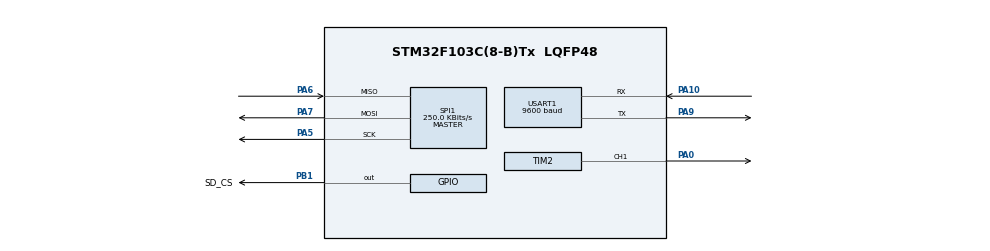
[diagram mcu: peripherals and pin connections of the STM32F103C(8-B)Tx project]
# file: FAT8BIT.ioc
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FREERTOS.Tasks01=Tarea1,24,128,AbrirArchivo,Default,NULL,Dynamic,NULL,NULL;Tarea2,8,128,Reproducir,Default,NULL,Dynamic,NULL,NULL
FREERTOS.configUSE_NEWLIB_REENTRANT=1
Mcu.Family=STM32F1
Mcu.Name=STM32F103C(8-B)Tx
Mcu.Package=LQFP48
NVIC.PriorityGroup=NVIC_PRIORITYGROUP_4
NVIC.TIM2_IRQn=true\:5\:0\:false\:false\:true\:true\:true\:true\:true
NVIC.TIM4_IRQn=true\:15\:0\:false\:false\:true\:false\:false\:true\:true
NVIC.TimeBase=TIM4_IRQn
NVIC.TimeBaseIP=TIM4
PA0-WKUP.Signal=S_TIM2_CH1_ETR
PA10.Mode=Asynchronous
PA10.Signal=USART1_RX
PA13.Mode=Serial_Wire
PA13.Signal=SYS_JTMS-SWDIO
PA14.Mode=Serial_Wire
PA14.Signal=SYS_JTCK-SWCLK
PA5.Mode=Full_Duplex_Master
PA5.Signal=SPI1_SCK
PA6.Mode=Full_Duplex_Master
PA6.Signal=SPI1_MISO
PA7.Mode=Full_Duplex_Master
PA7.Signal=SPI1_MOSI
PA9.Mode=Asynchronous
PA9.Signal=USART1_TX
PB1.GPIO_Label=SD_CS
PB1.Signal=GPIO_Output
ProjectManager.HeapSize=0x200
ProjectManager.StackSize=0x400
ProjectManager.TargetToolchain=STM32CubeIDE
RCC.APB1Freq_Value=8000000
RCC.APB2Freq_Value=8000000
SH.S_TIM2_CH1_ETR.0=TIM2_CH1,PWM Generation1 CH1
SPI1.BaudRatePrescaler=SPI_BAUDRATEPRESCALER_32
SPI1.CalculateBaudRate=250.0 KBits/s
SPI1.Direction=SPI_DIRECTION_2LINES
SPI1.Mode=SPI_MODE_MASTER
SPI1.VirtualType=VM_MASTER
TIM2.Channel-PWM\ Generation1\ CH1=TIM_CHANNEL_1
TIM2.Period=255
TIM2.Prescaler=0
TIM3.Period=124
TIM3.Prescaler=71
USART1.BaudRate=9600
USART1.VirtualMode=VM_ASYNC
VP_FATFS_VS_Generic.Mode=User_defined
VP_FREERTOS_VS_CMSIS_V2.Mode=CMSIS_V2
VP_SYS_VS_tim4.Mode=TIM4
VP_TIM2_VS_ClockSourceINT.Mode=Internal
VP_TIM3_VS_ClockSourceINT.Mode=Internal
board=custom

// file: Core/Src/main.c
/* USER CODE BEGIN Header */
/**
  ******************************************************************************
  * @file           : main.c
  * @brief          : Main program body
  ******************************************************************************
  * @attention
  *
  * Copyright (c) 2023 STMicroelectronics.
  * All rights reserved.
  *
  * This software is licensed under terms that can be found in the LICENSE file
  * in the root directory of this software component.
  * If no LICENSE file comes with this software, it is provided AS-IS.
  *
  ******************************************************************************
  */
/* USER CODE END Header */
#include "main.h"
#include "cmsis_os.h"
#include "fatfs.h"

/* USER CODE BEGIN Includes */
#include "stdio.h"
/* USER CODE END Includes */

SPI_HandleTypeDef hspi1;

TIM_HandleTypeDef htim2;
TIM_HandleTypeDef htim3;

UART_HandleTypeDef huart1;

/* Definitions for Tarea1 */
osThreadId_t Tarea1Handle;
const osThreadAttr_t Tarea1_attributes = {
  .name = "Tarea1",
  .stack_size = 128 * 4,
  .priority = (osPriority_t) osPriorityNormal,
};
/* Definitions for Tarea2 */
osThreadId_t Tarea2Handle;
const osThreadAttr_t Tarea2_attributes = {
  .name = "Tarea2",
  .stack_size = 128 * 4,
  .priority = (osPriority_t) osPriorityLow,
};
/* USER CODE BEGIN PV */
enum{cancion1,cancion2}cancion=cancion1;
int idx=0;
FATFS FatFs; //Fatfs handle
FIL fil; //File handle
FRESULT fres; //Result after operations
DWORD free_clusters, free_sectors, total_sectors;
FATFS* getFreeFs;
BYTE readBuf;
BYTE CONT=0;
/* USER CODE END PV */

void SystemClock_Config(void);
static void MX_GPIO_Init(void);
static void MX_SPI1_Init(void);
static void MX_TIM2_Init(void);
static void MX_USART1_UART_Init(void);
static void MX_TIM3_Init(void);
void AbrirArchivo(void *argument);
void Reproducir(void *argument);

int main(void)
{
  /* USER CODE BEGIN 1 */
	//variables for FatFs

  /* USER CODE END 1 */

  /* MCU Configuration--------------------------------------------------------*/

  /* Reset of all peripherals, Initializes the Flash interface and the Systick. */
  HAL_Init();

  /* Configure the system clock */
  SystemClock_Config();

  /* Initialize all configured peripherals */
  MX_GPIO_Init();
  MX_SPI1_Init();
  MX_TIM2_Init();
  MX_USART1_UART_Init();
  MX_FATFS_Init();
  MX_TIM3_Init();

  /* Init scheduler */
  osKernelInitialize();

  /* Create the thread(s) */
  /* creation of Tarea1 */
  Tarea1Handle = osThreadNew(AbrirArchivo, NULL, &Tarea1_attributes);

  /* creation of Tarea2 */
  Tarea2Handle = osThreadNew(Reproducir, NULL, &Tarea2_attributes);

  /* Start scheduler */
  osKernelStart();

  /* We should never get here as control is now taken by the scheduler */
  /* Infinite loop */
  /* USER CODE BEGIN WHILE */
  HAL_TIM_PWM_Start(&htim2, TIM_CHANNEL_1);
  HAL_TIM_Base_Start(&htim3);
  fres = f_mount(&FatFs, "", 1); //1=mount now
  while (1)
  {
    /* USER CODE END WHILE */

  }
}

void SystemClock_Config(void)
{
  RCC_OscInitTypeDef RCC_OscInitStruct = {0};
  RCC_ClkInitTypeDef RCC_ClkInitStruct = {0};

  /** Initializes the RCC Oscillators according to the specified parameters
  * in the RCC_OscInitTypeDef structure.
  */
  RCC_OscInitStruct.OscillatorType = RCC_OSCILLATORTYPE_HSI;
  RCC_OscInitStruct.HSIState = RCC_HSI_ON;
  RCC_OscInitStruct.HSICalibrationValue = RCC_HSICALIBRATION_DEFAULT;
  RCC_OscInitStruct.PLL.PLLState = RCC_PLL_NONE;
  if (HAL_RCC_OscConfig(&RCC_OscInitStruct) != HAL_OK)
  {
    Error_Handler();
  }

  /** Initializes the CPU, AHB and APB buses clocks
  */
  RCC_ClkInitStruct.ClockType = RCC_CLOCKTYPE_HCLK|RCC_CLOCKTYPE_SYSCLK
                              |RCC_CLOCKTYPE_PCLK1|RCC_CLOCKTYPE_PCLK2;
  RCC_ClkInitStruct.SYSCLKSource = RCC_SYSCLKSOURCE_HSI;
  RCC_ClkInitStruct.AHBCLKDivider = RCC_SYSCLK_DIV1;
  RCC_ClkInitStruct.APB1CLKDivider = RCC_HCLK_DIV1;
  RCC_ClkInitStruct.APB2CLKDivider = RCC_HCLK_DIV1;

  if (HAL_RCC_ClockConfig(&RCC_ClkInitStruct, FLASH_LATENCY_0) != HAL_OK)
  {
    Error_Handler();
  }
}

static void MX_SPI1_Init(void)
{

  /* SPI1 parameter configuration*/
  hspi1.Instance = SPI1;
  hspi1.Init.Mode = SPI_MODE_MASTER;
  hspi1.Init.Direction = SPI_DIRECTION_2LINES;
  hspi1.Init.DataSize = SPI_DATASIZE_8BIT;
  hspi1.Init.CLKPolarity = SPI_POLARITY_LOW;
  hspi1.Init.CLKPhase = SPI_PHASE_1EDGE;
  hspi1.Init.NSS = SPI_NSS_SOFT;
  hspi1.Init.BaudRatePrescaler = SPI_BAUDRATEPRESCALER_32;
  hspi1.Init.FirstBit = SPI_FIRSTBIT_MSB;
  hspi1.Init.TIMode = SPI_TIMODE_DISABLE;
  hspi1.Init.CRCCalculation = SPI_CRCCALCULATION_DISABLE;
  hspi1.Init.CRCPolynomial = 10;
  if (HAL_SPI_Init(&hspi1) != HAL_OK)
  {
    Error_Handler();
  }

}

static void MX_TIM2_Init(void)
{

  TIM_ClockConfigTypeDef sClockSourceConfig = {0};
  TIM_MasterConfigTypeDef sMasterConfig = {0};
  TIM_OC_InitTypeDef sConfigOC = {0};

  htim2.Instance = TIM2;
  htim2.Init.Prescaler = 0;
  htim2.Init.CounterMode = TIM_COUNTERMODE_UP;
  htim2.Init.Period = 255;
  htim2.Init.ClockDivision = TIM_CLOCKDIVISION_DIV1;
  htim2.Init.AutoReloadPreload = TIM_AUTORELOAD_PRELOAD_DISABLE;
  if (HAL_TIM_Base_Init(&htim2) != HAL_OK)
  {
    Error_Handler();
  }
  sClockSourceConfig.ClockSource = TIM_CLOCKSOURCE_INTERNAL;
  if (HAL_TIM_ConfigClockSource(&htim2, &sClockSourceConfig) != HAL_OK)
  {
    Error_Handler();
  }
  if (HAL_TIM_PWM_Init(&htim2) != HAL_OK)
  {
    Error_Handler();
  }
  sMasterConfig.MasterOutputTrigger = TIM_TRGO_RESET;
  sMasterConfig.MasterSlaveMode = TIM_MASTERSLAVEMODE_DISABLE;
  if (HAL_TIMEx_MasterConfigSynchronization(&htim2, &sMasterConfig) != HAL_OK)
  {
    Error_Handler();
  }
  sConfigOC.OCMode = TIM_OCMODE_PWM1;
  sConfigOC.Pulse = 0;
  sConfigOC.OCPolarity = TIM_OCPOLARITY_HIGH;
  sConfigOC.OCFastMode = TIM_OCFAST_DISABLE;
  if (HAL_TIM_PWM_ConfigChannel(&htim2, &sConfigOC, TIM_CHANNEL_1) != HAL_OK)
  {
    Error_Handler();
  }
  HAL_TIM_MspPostInit(&htim2);

}

static void MX_TIM3_Init(void)
{

  TIM_ClockConfigTypeDef sClockSourceConfig = {0};
  TIM_MasterConfigTypeDef sMasterConfig = {0};

  htim3.Instance = TIM3;
  htim3.Init.Prescaler = 71;
  htim3.Init.CounterMode = TIM_COUNTERMODE_UP;
  htim3.Init.Period = 124;
  htim3.Init.ClockDivision = TIM_CLOCKDIVISION_DIV1;
  htim3.Init.AutoReloadPreload = TIM_AUTORELOAD_PRELOAD_DISABLE;
  if (HAL_TIM_Base_Init(&htim3) != HAL_OK)
  {
    Error_Handler();
  }
  sClockSourceConfig.ClockSource = TIM_CLOCKSOURCE_INTERNAL;
  if (HAL_TIM_ConfigClockSource(&htim3, &sClockSourceConfig) != HAL_OK)
  {
    Error_Handler();
  }
  sMasterConfig.MasterOutputTrigger = TIM_TRGO_RESET;
  sMasterConfig.MasterSlaveMode = TIM_MASTERSLAVEMODE_DISABLE;
  if (HAL_TIMEx_MasterConfigSynchronization(&htim3, &sMasterConfig) != HAL_OK)
  {
    Error_Handler();
  }

}

static void MX_USART1_UART_Init(void)
{

  huart1.Instance = USART1;
  huart1.Init.BaudRate = 9600;
  huart1.Init.WordLength = UART_WORDLENGTH_8B;
  huart1.Init.StopBits = UART_STOPBITS_1;
  huart1.Init.Parity = UART_PARITY_NONE;
  huart1.Init.Mode = UART_MODE_TX_RX;
  huart1.Init.HwFlowCtl = UART_HWCONTROL_NONE;
  huart1.Init.OverSampling = UART_OVERSAMPLING_16;
  if (HAL_UART_Init(&huart1) != HAL_OK)
  {
    Error_Handler();
  }

}

static void MX_GPIO_Init(void)
{
  GPIO_InitTypeDef GPIO_InitStruct = {0};

  /* GPIO Ports Clock Enable */
  __HAL_RCC_GPIOA_CLK_ENABLE();
  __HAL_RCC_GPIOB_CLK_ENABLE();

  /*Configure GPIO pin Output Level */
  HAL_GPIO_WritePin(SD_CS_GPIO_Port, SD_CS_Pin, GPIO_PIN_RESET);

  /*Configure GPIO pin : SD_CS_Pin */
  GPIO_InitStruct.Pin = SD_CS_Pin;
  GPIO_InitStruct.Mode = GPIO_MODE_OUTPUT_PP;
  GPIO_InitStruct.Pull = GPIO_NOPULL;
  GPIO_InitStruct.Speed = GPIO_SPEED_FREQ_LOW;
  HAL_GPIO_Init(SD_CS_GPIO_Port, &GPIO_InitStruct);

}

/* USER CODE BEGIN 4 */
int _write(int file, char *ptr, int len) {
	HAL_UART_Transmit(&huart1, ptr, len, HAL_MAX_DELAY);
	return len;
}

/* USER CODE END 4 */

void AbrirArchivo(void *argument)
{
  /* USER CODE BEGIN 5 */
  fres = f_open(&fil, "cancion.txt", FA_READ);
  /* Infinite loop */
  osThreadExit();
  /* USER CODE END 5 */
}

void Reproducir(void *argument)
{
  /* USER CODE BEGIN Reproducir */
  /* Infinite loop */
  for(;;)
  {
	TCHAR* rres = f_gets((TCHAR*)readBuf, 512, &fil);
	idx = (idx + 1) % 0x002B442C; //0x002B442C long del archivo
	TIM2->CCR1 = readBuf;
  }
  /* USER CODE END Reproducir */
}

void HAL_TIM_PeriodElapsedCallback(TIM_HandleTypeDef *htim)
{
  if (htim->Instance == TIM4) {
    HAL_IncTick();
  }
  /* USER CODE BEGIN Callback 1 */
  if (htim->Instance == TIM3) {

  }
  /* USER CODE END Callback 1 */
}

void Error_Handler(void)
{
  __disable_irq();
  while (1)
  {
  }
}
